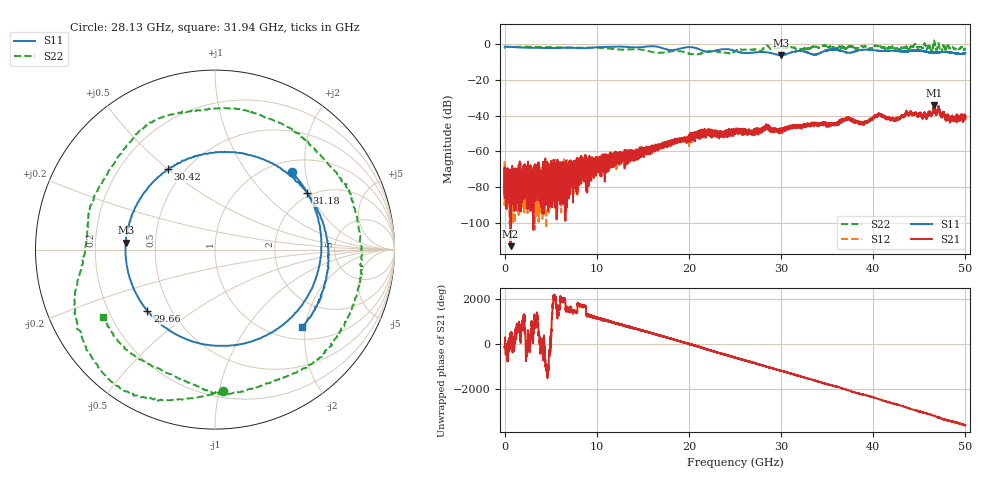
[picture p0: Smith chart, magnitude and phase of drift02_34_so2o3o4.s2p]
!Created with skrf (http://scikit-rf.org).
# Hz S RI R 50.0
!freq ReS11 ImS11 ReS21 ImS21 ReS12 ImS12 ReS22 ImS22
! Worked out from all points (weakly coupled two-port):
!   10001 points, 300 kHz to 50 GHz, reference 50 ohm
!   highest |S21| = -34.22 dB at 46.6 GHz (marker M1); lowest = -113.2 dB at 645.3 MHz (marker M2)
!   lowest |S11| = -6.1 dB at 30 GHz (marker M3), VSWR 2.98, Z = 16.8 + j1.69 ohm
!   |S11| at or under -10 dB: nowhere
!   |S22| runs from -5.7 to 2.2 dB; largest |S21 - S12| = 0.0035
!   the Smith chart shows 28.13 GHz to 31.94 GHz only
!   S11 on the Smith chart (normalised r, x): 28.13 GHz: 1.22, +1.68; 29.66 GHz: 0.37, -0.34; 30.42 GHz: 0.41, +0.50; 31.18 GHz: 1.89, +1.87; 31.94 GHz: 1.28, -1.91
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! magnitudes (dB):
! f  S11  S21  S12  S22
! 300 kHz  -1.3  -69.0  -65.6  -2.1
! 255.3 MHz  -1.4  -76.3  -76.4  -1.4
! 645.3 MHz  -1.4  -113.2  -76.4  -1.5
! 3.43 GHz  -2.0  -73.5  -72.4  -1.5
! 3.97 GHz  -2.0  -79.4  -75.4  -1.5
! 8.335 GHz  -2.2  -70.5  -68.4  -1.9
! 16.67 GHz  -1.5  -56.8  -58.7  -4.7
! 21.25 GHz  -3.0  -49.1  -50.6  -5.2
! 25 GHz  -3.7  -48.7  -48.7  -3.9
! 28.13 GHz  -4.3  -46.4  -47.7  -2.1
! 29.66 GHz  -5.9  -48.9  -48.2  -2.1
! 30 GHz  -6.1  -47.2  -48.3  -2.0
! 30.42 GHz  -5.7  -47.6  -47.7  -1.9
! 31.18 GHz  -4.4  -45.9  -46.4  -1.7
! 31.94 GHz  -3.8  -46.3  -46.3  -2.8
! 33.34 GHz  -5.5  -44.7  -45.0  -1.6
! 37.27 GHz  -4.7  -41.2  -41.5  -1.5
! 38.87 GHz  -3.0  -44.3  -44.7  -1.4
! 40.63 GHz  -3.6  -39.4  -39.2  -0.9
! 41.67 GHz  -3.7  -41.1  -40.7  -1.9
! 46.6 GHz  -4.7  -34.2  -34.9  1.9
! 50 GHz  -5.0  -41.1  -40.6  -2.6
